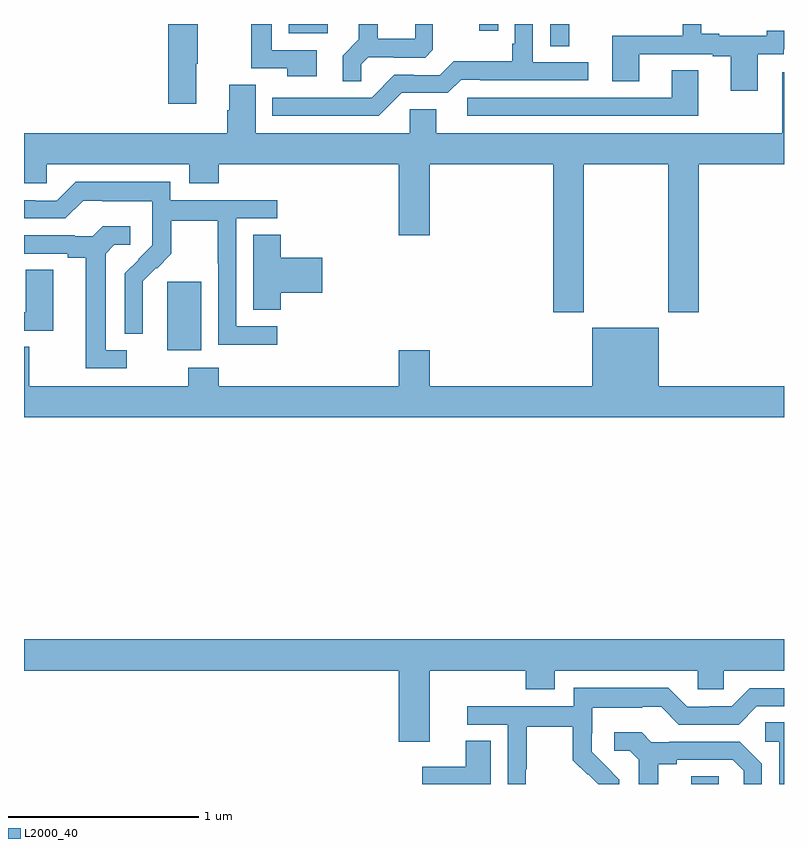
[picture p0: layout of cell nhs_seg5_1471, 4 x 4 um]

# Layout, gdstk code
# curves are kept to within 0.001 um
import gdstk
lib = gdstk.Library(unit=1e-6, precision=1e-09)
def R(c, l, rs):  # rectangles x0, y0, x1, y1
    for r in rs: c.add(gdstk.rectangle(r[:2], r[2:], *l))
def P(c, l, *ps):  # polygons
    for p in ps: c.add(gdstk.Polygon(p, *l))
L2000_40 = (2000, 40)

nhs_seg5_1471 = lib.new_cell('nhs_seg5_1471')
R(nhs_seg5_1471, L2000_40, [(202.511,886.799,202.656,886.841), (199.754,889.082,199.933,889.443), (201.771,890.683,201.87,890.799), (200.393,890.75,200.599,890.799), (201.396,890.763,201.497,890.799)])
P(nhs_seg5_1471, L2000_40, [(200.775,890.588),(200.812,890.625),(200.946,890.625),(200.946,890.622),(201.111,890.622),(201.152,890.663),(201.152,890.799),(201.058,890.799),(201.058,890.722),(200.861,890.722),(200.861,890.799),(200.763,890.799),(200.763,890.719),(200.677,890.633),(200.677,890.497),(200.775,890.497)],
  [(200.542,890.661),(200.304,890.661),(200.304,890.799),(200.196,890.799),(200.196,890.565),(200.386,890.565),(200.386,890.525),(200.542,890.525)],
  [(202.861,890.64),(202.998,890.64),(202.998,890.667),(203,890.667),(203,890.763),(202.908,890.763),(202.908,890.736),(202.66,890.736),(202.66,890.749),(202.564,890.749),(202.564,890.799),(202.467,890.799),(202.467,890.736),(202.097,890.736),(202.097,890.497),(202.237,890.497),(202.237,890.64),(202.625,890.64),(202.625,890.628),(202.721,890.628),(202.721,890.448),(202.861,890.448)],
  [(200.988,890.436),(201.231,890.436),(201.3,890.505),(201.4,890.505),(201.4,890.502),(201.97,890.502),(201.97,890.598),(201.678,890.598),(201.678,890.799),(201.582,890.799),(201.582,890.695),(201.57,890.695),(201.57,890.602),(201.262,890.602),(201.189,890.529),(201.05,890.529),(201.05,890.532),(200.949,890.532),(200.829,890.412),(200.306,890.412),(200.306,890.316),(200.868,890.316)],
  [(199.906,890.591),(199.914,890.591),(199.914,890.799),(199.76,890.799),(199.76,890.379),(199.906,890.379)],
  [(202.549,890.555),(202.409,890.555),(202.409,890.412),(201.333,890.412),(201.333,890.316),(202.549,890.316)],
  [(199,889.962),(199.119,889.962),(199.119,890.06),(199.871,890.06),(199.871,889.961),(200.024,889.961),(200.024,890.06),(200.972,890.06),(200.972,889.686),(201.136,889.686),(201.136,890.06),(201.785,890.06),(201.785,889.281),(201.945,889.281),(201.945,890.06),(202.39,890.06),(202.39,889.281),(202.55,889.281),(202.55,890.06),(203,890.06),(203,890.545),(202.991,890.545),(202.991,890.224),(201.169,890.224),(201.169,890.351),(201.03,890.351),(201.03,890.224),(200.221,890.224),(200.221,890.48),(200.081,890.48),(200.081,890.346),(200.069,890.346),(200.069,890.224),(199,890.224)],
  [(200.332,889.209),(200.118,889.209),(200.118,889.776),(200.332,889.776),(200.332,889.872),(199.77,889.872),(199.77,889.969),(199.273,889.969),(199.173,889.869),(199.058,889.869),(199.058,889.872),(199,889.872),(199,889.776),(199.218,889.776),(199.311,889.869),(199.411,889.869),(199.411,889.865),(199.674,889.865),(199.674,889.731),(199.676,889.731),(199.676,889.634),(199.53,889.486),(199.53,889.168),(199.626,889.168),(199.625,889.445),(199.695,889.515),(199.698,889.512),(199.775,889.589),(199.775,889.764),(200.02,889.764),(200.02,889.54),(200.022,889.54),(200.022,889.111),(200.332,889.111)],
  [(199.54,889.083),(199.429,889.083),(199.429,889.591),(199.476,889.638),(199.558,889.638),(199.558,889.735),(199.414,889.735),(199.362,889.683),(199.268,889.683),(199.268,889.686),(199,889.686),(199,889.59),(199.229,889.59),(199.229,889.568),(199.325,889.568),(199.325,888.987),(199.54,888.987)],
  [(200.351,889.385),(200.569,889.385),(200.569,889.568),(200.351,889.568),(200.351,889.691),(200.207,889.691),(200.207,889.294),(200.351,889.294)],
  [(199.153,889.505),(199.008,889.505),(199.008,889.281),(199,889.281),(199,889.185),(199.153,889.185)],
  [(203,888.892),(202.342,888.892),(202.342,889.201),(201.992,889.201),(201.992,888.892),(201.136,888.892),(201.136,889.081),(200.972,889.081),(200.972,888.892),(200.024,888.892),(200.024,888.991),(199.864,888.991),(199.864,888.892),(199.027,888.892),(199.027,889.1),(199,889.1),(199,888.728),(203,888.728)],
  [(199,887.396),(200.972,887.396),(200.972,887.022),(201.136,887.022),(201.136,887.396),(201.641,887.396),(201.641,887.297),(201.793,887.297),(201.793,887.396),(202.545,887.396),(202.545,887.298),(202.683,887.298),(202.683,887.396),(203,887.396),(203,887.56),(199,887.56)],
  [(201.642,886.876),(201.645,886.876),(201.645,887.1),(201.889,887.1),(201.889,886.925),(201.966,886.848),(201.969,886.851),(202.022,886.799),(202.134,886.799),(202.134,886.822),(201.988,886.97),(201.988,887.067),(201.99,887.067),(201.99,887.201),(202.253,887.201),(202.253,887.205),(202.353,887.205),(202.446,887.112),(202.761,887.112),(202.857,887.208),(203,887.208),(203,887.304),(202.821,887.304),(202.725,887.208),(202.607,887.208),(202.607,887.205),(202.491,887.205),(202.391,887.305),(201.894,887.305),(201.894,887.208),(201.333,887.208),(201.333,887.112),(201.546,887.112),(201.546,886.799),(201.642,886.799)],
  [(203,887.123),(202.902,887.123),(202.902,887.022),(202.974,887.022),(202.974,886.799),(203,886.799)],
  [(202.339,886.904),(202.435,886.904),(202.435,886.926),(202.73,886.926),(202.787,886.869),(202.787,886.799),(202.884,886.799),(202.884,886.906),(202.768,887.022),(202.396,887.022),(202.396,887.019),(202.302,887.019),(202.25,887.071),(202.107,887.071),(202.107,886.974),(202.188,886.974),(202.235,886.927),(202.235,886.799),(202.339,886.799)],
  [(201.457,887.027),(201.326,887.027),(201.326,886.891),(201.096,886.891),(201.096,886.799),(201.457,886.799)])

lib.write_gds('nhs_seg5_1471.gds')
